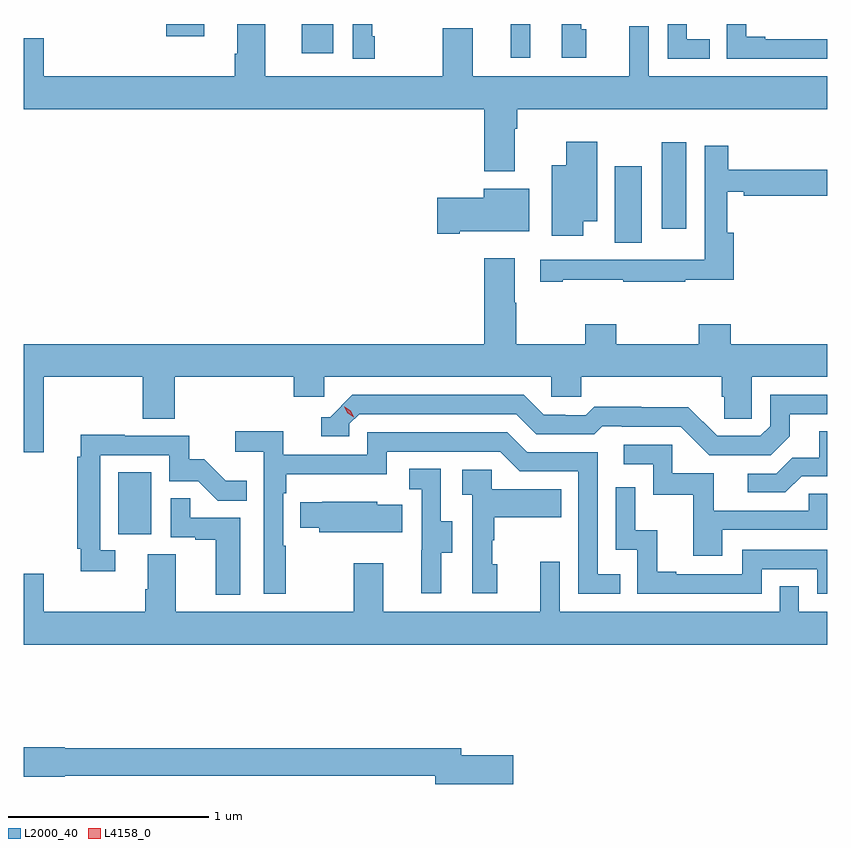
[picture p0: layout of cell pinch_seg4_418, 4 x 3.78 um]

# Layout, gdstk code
import gdstk
lib = gdstk.Library(unit=1e-6, precision=1e-09)
def R(c, l, rs):  # rectangles x0, y0, x1, y1
    for r in rs: c.add(gdstk.rectangle(r[:2], r[2:], *l))
def P(c, l, *ps):  # polygons
    for p in ps: c.add(gdstk.Polygon(p, *l))
L2000_40 = (2000, 40)
L4158_0 = (4158, 0)

pinch_seg4_418 = lib.new_cell('pinch_seg4_418')
R(pinch_seg4_418, L2000_40, [(944.762,780.054,944.926,780.361), (947.234,781.504,947.368,781.885), (947.468,781.575,947.59,782.005), (946.715,782.424,946.813,782.593), (945.674,782.448,945.832,782.593), (945.001,782.532,945.19,782.593)])
P(pinch_seg4_418, L2000_40, [(946.378,782.572),(946.378,782.332),(945.493,782.332),(945.493,782.593),(945.353,782.593),(945.353,782.444),(945.341,782.444),(945.341,782.332),(944.392,782.332),(944.392,782.521),(944.291,782.521),(944.291,782.168),(946.583,782.168),(946.583,781.859),(946.735,781.859),(946.735,782.072),(946.748,782.072),(946.748,782.168),(948.291,782.168),(948.291,782.332),(947.403,782.332),(947.403,782.581),(947.306,782.581),(947.306,782.332),(946.525,782.332),(946.525,782.572)],
  [(946.039,782.533),(946.026,782.533),(946.026,782.593),(945.93,782.593),(945.93,782.421),(946.039,782.421)],
  [(947.705,782.517),(947.592,782.517),(947.592,782.593),(947.496,782.593),(947.496,782.421),(947.705,782.421)],
  [(947.092,782.568),(947.067,782.568),(947.067,782.593),(946.968,782.593),(946.968,782.424),(947.092,782.424)],
  [(948.291,782.517),(947.983,782.517),(947.983,782.53),(947.888,782.53),(947.888,782.593),(947.79,782.593),(947.79,782.421),(948.291,782.421)],
  [(947.077,781.61),(947.146,781.61),(947.146,782.008),(946.991,782.008),(946.991,781.891),(946.919,781.891),(946.919,781.539),(947.077,781.539)],
  [(946.975,781.321),(947.275,781.321),(947.275,781.311),(947.585,781.311),(947.585,781.321),(947.825,781.321),(947.825,781.555),(947.794,781.555),(947.794,781.757),(947.875,781.757),(947.875,781.738),(948.291,781.738),(948.291,781.867),(947.798,781.867),(947.798,781.987),(947.682,781.987),(947.682,781.42),(947.472,781.42),(947.472,781.419),(946.863,781.419),(946.863,781.311),(946.975,781.311)],
  [(946.462,781.562),(946.807,781.562),(946.807,781.774),(946.58,781.774),(946.58,781.728),(946.35,781.728),(946.35,781.55),(946.462,781.55)],
  [(944.392,780.836),(944.884,780.836),(944.884,780.628),(945.044,780.628),(945.044,780.836),(945.635,780.836),(945.635,780.738),(945.786,780.738),(945.786,780.836),(946.917,780.836),(946.917,780.738),(947.067,780.738),(947.067,780.836),(947.765,780.836),(947.765,780.738),(947.779,780.738),(947.779,780.628),(947.916,780.628),(947.916,780.836),(948.291,780.836),(948.291,781),(947.81,781),(947.81,781.099),(947.65,781.099),(947.65,781),(947.241,781),(947.241,781.099),(947.086,781.099),(947.086,781),(946.743,781),(946.743,781.205),(946.735,781.205),(946.735,781.426),(946.583,781.426),(946.583,781),(944.291,781),(944.291,780.462),(944.392,780.462)],
  [(948.103,780.541),(948.103,780.651),(948.291,780.651),(948.291,780.747),(948.006,780.747),(948.006,780.591),(947.958,780.543),(947.742,780.543),(947.6,780.685),(947.364,780.685),(947.364,780.688),(947.131,780.688),(947.089,780.645),(946.986,780.645),(946.986,780.648),(946.879,780.648),(946.78,780.747),(945.927,780.747),(945.816,780.636),(945.773,780.636),(945.773,780.54),(945.912,780.54),(945.912,780.603),(945.96,780.651),(946.743,780.651),(946.842,780.552),(947.131,780.552),(947.17,780.591),(947.269,780.591),(947.269,780.588),(947.562,780.588),(947.703,780.447),(948.009,780.447)],
  [(945.595,779.996),(945.582,779.996),(945.582,780.257),(945.599,780.257),(945.599,780.353),(946.098,780.353),(946.098,780.465),(946.662,780.465),(946.761,780.366),(947.052,780.366),(947.052,779.757),(947.261,779.757),(947.261,779.853),(947.148,779.853),(947.148,780.462),(946.798,780.462),(946.699,780.561),(946.002,780.561),(946.002,780.45),(945.584,780.45),(945.584,780.566),(945.345,780.566),(945.345,780.464),(945.486,780.464),(945.486,779.757),(945.595,779.757)],
  [(948.163,780.342),(948.291,780.342),(948.291,780.566),(948.251,780.566),(948.251,780.434),(948.116,780.434),(948.036,780.354),(947.895,780.354),(947.895,780.261),(948.082,780.261)],
  [(944.746,779.973),(944.673,779.973),(944.673,780.447),(945.015,780.447),(945.015,780.318),(945.16,780.318),(945.258,780.22),(945.401,780.22),(945.401,780.319),(945.297,780.319),(945.19,780.426),(945.114,780.426),(945.114,780.543),(944.795,780.543),(944.795,780.548),(944.576,780.548),(944.576,780.44),(944.557,780.44),(944.557,779.98),(944.576,779.98),(944.576,779.868),(944.746,779.868)],
  [(947.767,780.075),(948.291,780.075),(948.291,780.255),(948.199,780.255),(948.199,780.171),(947.725,780.171),(947.725,780.357),(947.52,780.357),(947.52,780.498),(947.277,780.498),(947.277,780.402),(947.424,780.402),(947.424,780.249),(947.623,780.249),(947.623,779.946),(947.767,779.946)],
  [(946.369,779.962),(946.423,779.962),(946.423,780.117),(946.368,780.117),(946.368,780.38),(946.209,780.38),(946.209,780.277),(946.272,780.277),(946.272,779.973),(946.271,779.973),(946.271,779.76),(946.369,779.76)],
  [(946.648,779.904),(946.623,779.904),(946.623,780.023),(946.633,780.023),(946.633,780.137),(946.967,780.137),(946.967,780.277),(946.62,780.277),(946.62,780.375),(946.473,780.375),(946.473,780.251),(946.524,780.251),(946.524,779.76),(946.648,779.76)],
  [(947.964,779.88),(948.24,779.88),(948.24,779.757),(948.291,779.757),(948.291,779.976),(947.868,779.976),(947.868,779.853),(947.539,779.853),(947.539,779.866),(947.444,779.866),(947.444,780.074),(947.334,780.074),(947.334,780.286),(947.238,780.286),(947.238,779.976),(947.346,779.976),(947.346,779.757),(947.964,779.757)],
  [(945.37,780.135),(945.119,780.135),(945.119,780.233),(945.024,780.233),(945.024,780.039),(945.145,780.039),(945.145,780.027),(945.248,780.027),(945.248,779.753),(945.37,779.753)],
  [(946.175,780.199),(946.05,780.199),(946.05,780.214),(945.778,780.214),(945.778,780.213),(945.667,780.213),(945.667,780.085),(945.761,780.085),(945.761,780.062),(946.175,780.062)],
  [(948.291,779.668),(948.15,779.668),(948.15,779.795),(948.054,779.795),(948.054,779.668),(946.959,779.668),(946.959,779.917),(946.862,779.917),(946.862,779.668),(946.081,779.668),(946.081,779.908),(945.934,779.908),(945.934,779.668),(945.049,779.668),(945.049,779.954),(944.909,779.954),(944.909,779.78),(944.897,779.78),(944.897,779.668),(944.392,779.668),(944.392,779.857),(944.291,779.857),(944.291,779.504),(948.291,779.504)],
  [(946.729,778.952),(946.468,778.952),(946.468,778.988),(944.496,778.988),(944.496,778.994),(944.291,778.994),(944.291,778.847),(944.496,778.847),(944.496,778.852),(946.34,778.852),(946.34,778.81),(946.729,778.81)])
P(pinch_seg4_418, L4158_0, [(945.935,780.636),(945.904,780.655),(945.887,780.688),(945.887,780.688),(945.888,780.688),(945.919,780.669),(945.935,780.636),(945.935,780.636)])

lib.write_gds('pinch_seg4_418.gds')
